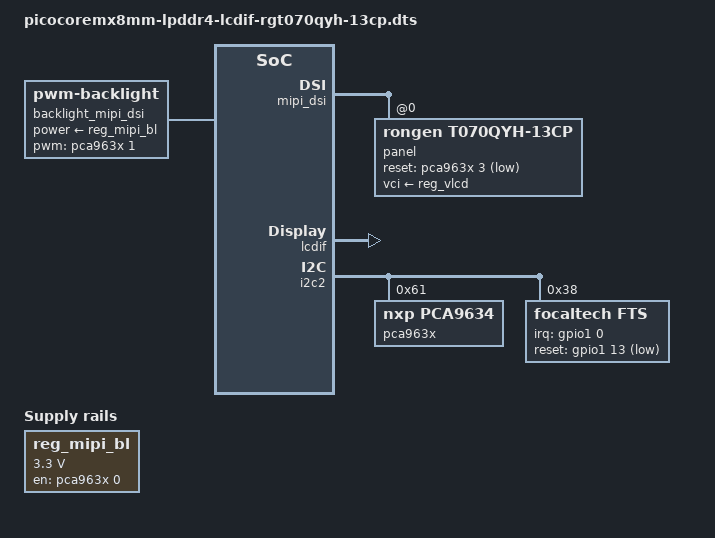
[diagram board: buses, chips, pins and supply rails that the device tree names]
/*
* Copyright (C) 2022 F&S Elektronik Systeme GmbH
*
* This program is free software; you can redistribute it and/or modify
* it under the terms of the GNU General Public License version 2 as
* published by the Free Software Foundation.
*/

#define CONFIG_PICOCOREMX8MM_MIPI_DSI
#include "picocoremx8mm-lpddr4.dts"

/ {
	regulators {
		reg_mipi_bl: backlight_mipi {
			compatible = "regulator-fixed";
			regulator-name = "mipi-bl";
			gpio = <&pca963x 0 0>;
			regulator-min-microvolt = <3300000>;
			regulator-max-microvolt = <3300000>;
			enable-active-high;
		};
	};

	backlight_mipi_dsi: backlight_mipi_dsi {
		compatible = "pwm-backlight";
		pwms = <&pca963x 1 640000 PWM_POLARITY_INVERTED>;
		power-supply = <&reg_mipi_bl>;
		brightness-levels = <0 1 5 10 18 28 41 56
				     73 92 113 137 163 192 222 255>;
		default-brightness-level = <13>;
	};
};

&mipi_dsi {
	status = "okay";

	panel@0 {
		status = "okay";
		compatible = "rongen,t070qyh-13cp";
		reg = <0>;
		pinctrl-0 = <&pinctrl_mipi_dsi_en>;
		reset-gpios = <&pca963x 3 GPIO_ACTIVE_LOW>;
		vci-supply = <&reg_vlcd>;
		dsi-lanes = <4>;
		/* Video mode
		 * 0: burst mode
		 * 1: non-burst mode with sync event
		 * 2: non-burst mode with sync pulse
		 */
		video-mode = <0>;
		panel-width-mm = <94>;
		panel-height-mm = <150>;

		display-timings {
			timing {
				clock-frequency = <72000000>;
				hactive = <800>;
				vactive = <1280>;
				hback-porch = <72>;
				hfront-porch = <56>;
				vback-porch = <38>;
				vfront-porch = <3>;
				hsync-len = <128>;
				vsync-len = <10>;
				hsync-active = <0>;
				vsync-active = <0>;
				de-active = <0>;
				pixelclk-active = <0>;
			};
		};
	};
};

&lcdif {
	status = "okay";
};

&i2c2 {
	pca963x: pca9634@61 {
			compatible = "nxp,pca9634";
			reg = <0x61>;
			nxp,totem-pole;
			#address-cells = <1>;
			#size-cells = <0>;
			#pwm-cells = <3>;
			#gpio-cells = <2>;
			led@0 {
				reg = <0>;
				label = "BL_ON";
				type = "GPIO";
				active-high;
				default-on;		/* or: keep-value */
			};
			led@1 {
				reg = <1>;
				label = "BL_PWM";
				type = "PWM";
				active-high;
			};
			led@2 {
				reg = <2>;
				label = "2-unused";
				type = "LED";
				active-low;
			};
			led@3 {
				reg = <3>;
				label = "MIPI_RST";
				type = "GPIO";
				active-high;
				default-on;		/* or: keep-value */
			};
			led@4 {
				reg = <4>;
				label = "4-unused";
				type = "LED";
				active-low;
			};
			led@5 {
				reg = <5>;
				label = "TOUCH_RST";
				type = "GPIO";
				active-high;
				default-on;		/* or: keep-value */
			};
			led@6 {
				reg = <6>;
				label = "6-unused";
				type = "LED";
				active-low;
			};
			led@7 {
				reg = <7>;
				label = "7-unused";
				type = "LED";
				active-low;
			};
		};

	/* touch I2C */
	focaltech@38 {
		compatible = "focaltech,fts";
		reg = <0x38>;
		pinctrl-names = "default";
		pinctrl-0 = <&pinctrl_touch>;
		interrupt-parent = <&gpio1>;
		interrupts = <0 IRQ_TYPE_EDGE_FALLING>;
		focaltech,irq-gpio = <&gpio1 0 IRQ_TYPE_EDGE_FALLING>;
		focaltech,swap-xy;
		focaltech,touchscreen-inverted-y;
		focaltech,reset-gpio = <&gpio1 13 GPIO_ACTIVE_LOW>;
		focaltech,num-max-touches = <10>;
		focaltech,display-coords = <0 0 800 1280>;
	};
};

&iomuxc {
		pinctrl_touch: touch_grp {
			fsl,pins = <
				MX8MM_IOMUXC_GPIO1_IO13_GPIO1_IO13	0x00104
			>;
		};
};
